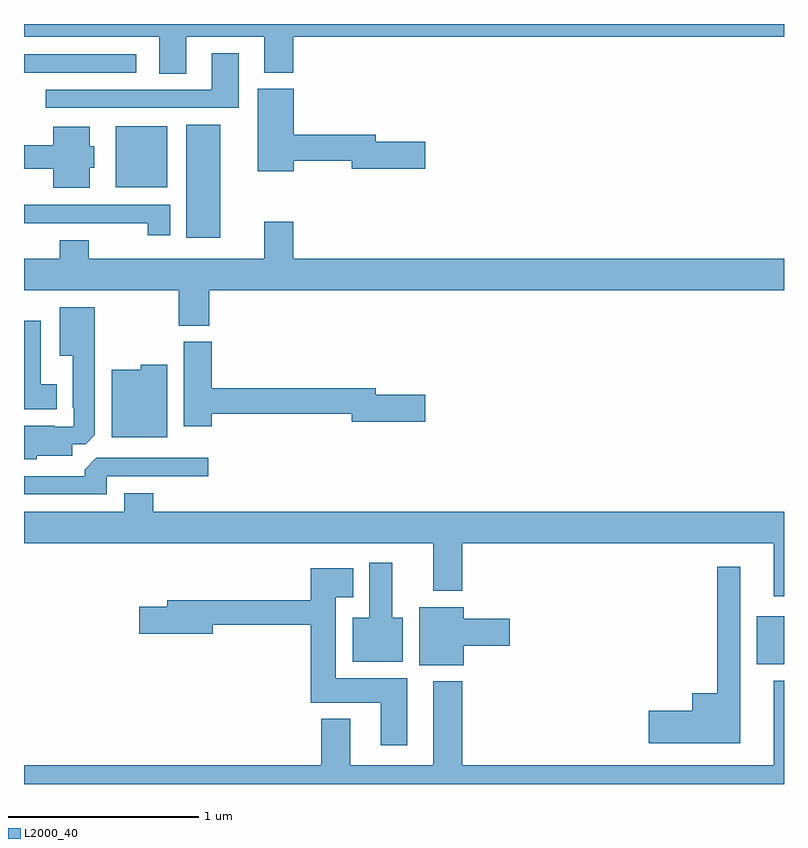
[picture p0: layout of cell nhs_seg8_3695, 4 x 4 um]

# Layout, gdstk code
import gdstk
lib = gdstk.Library(unit=1e-6, precision=1e-09)
def R(c, l, rs):  # rectangles x0, y0, x1, y1
    for r in rs: c.add(gdstk.rectangle(r[:2], r[2:], *l))
def P(c, l, *ps):  # polygons
    for p in ps: c.add(gdstk.Polygon(p, *l))
L2000_40 = (2000, 40)

nhs_seg8_3695 = lib.new_cell('nhs_seg8_3695')
R(nhs_seg8_3695, L2000_40, [(342.857,1114.529,343,1114.783), (339.854,1116.776,340.033,1117.369), (339.482,1117.04,339.754,1117.363), (339,1117.644,339.592,1117.74)])
P(nhs_seg8_3695, L2000_40, [(339.853,1117.832),(340.265,1117.832),(340.265,1117.643),(340.418,1117.643),(340.418,1117.832),(343,1117.832),(343,1117.9),(339,1117.9),(339,1117.832),(339.713,1117.832),(339.713,1117.639),(339.853,1117.639)],
  [(340.129,1117.747),(339.989,1117.747),(339.989,1117.554),(339.114,1117.554),(339.114,1117.458),(340.129,1117.458)],
  [(340.42,1117.18),(340.724,1117.18),(340.724,1117.138),(341.113,1117.138),(341.113,1117.28),(340.852,1117.28),(340.852,1117.316),(340.42,1117.316),(340.42,1117.558),(340.229,1117.558),(340.229,1117.124),(340.42,1117.124)],
  [(339.346,1117.143),(339.37,1117.143),(339.37,1117.257),(339.346,1117.257),(339.346,1117.36),(339.155,1117.36),(339.155,1117.261),(339,1117.261),(339,1117.139),(339.155,1117.139),(339.155,1117.037),(339.346,1117.037)],
  [(339.769,1116.948),(339,1116.948),(339,1116.852),(339.424,1116.852),(339.424,1116.851),(339.652,1116.851),(339.652,1116.789),(339.769,1116.789)],
  [(339.974,1116.5),(343,1116.5),(343,1116.664),(340.418,1116.664),(340.418,1116.859),(340.265,1116.859),(340.265,1116.664),(339.341,1116.664),(339.341,1116.763),(339.188,1116.763),(339.188,1116.664),(339,1116.664),(339,1116.5),(339.814,1116.5),(339.814,1116.313),(339.974,1116.313)],
  [(339.066,1115.627),(339.253,1115.627),(339.253,1115.688),(339.324,1115.688),(339.373,1115.737),(339.373,1116.409),(339.188,1116.409),(339.188,1116.155),(339.257,1116.155),(339.257,1115.881),(339.261,1115.881),(339.261,1115.781),(339.161,1115.781),(339.161,1115.785),(339,1115.785),(339,1115.609),(339.066,1115.609)],
  [(339.172,1116.004),(339.088,1116.004),(339.088,1116.337),(339,1116.337),(339,1115.873),(339.172,1115.873)],
  [(339.989,1115.848),(340.724,1115.848),(340.724,1115.806),(341.113,1115.806),(341.113,1115.948),(340.852,1115.948),(340.852,1115.984),(339.989,1115.984),(339.989,1116.228),(339.842,1116.228),(339.842,1115.784),(339.989,1115.784)],
  [(339.754,1116.106),(339.615,1116.106),(339.615,1116.079),(339.461,1116.079),(339.461,1115.726),(339.754,1115.726)],
  [(339.435,1115.52),(339.97,1115.52),(339.97,1115.616),(339.381,1115.616),(339.32,1115.554),(339.32,1115.52),(339,1115.52),(339,1115.424),(339.435,1115.424)],
  [(343,1115.332),(339.68,1115.332),(339.68,1115.431),(339.527,1115.431),(339.527,1115.332),(339,1115.332),(339,1115.168),(341.153,1115.168),(341.153,1114.916),(341.306,1114.916),(341.306,1115.168),(342.947,1115.168),(342.947,1114.887),(343,1114.887)],
  [(340.993,1114.774),(340.939,1114.774),(340.939,1115.065),(340.817,1115.065),(340.817,1114.774),(340.73,1114.774),(340.73,1114.544),(340.993,1114.544)],
  [(342.769,1115.044),(342.648,1115.044),(342.648,1114.378),(342.518,1114.378),(342.518,1114.286),(342.288,1114.286),(342.288,1114.115),(342.769,1114.115)],
  [(341.017,1114.456),(340.642,1114.456),(340.642,1114.883),(340.732,1114.883),(340.732,1115.035),(340.508,1115.035),(340.508,1114.867),(339.755,1114.867),(339.755,1114.833),(339.606,1114.833),(339.606,1114.691),(339.994,1114.691),(339.994,1114.738),(340.508,1114.738),(340.508,1114.328),(340.877,1114.328),(340.877,1114.104),(341.017,1114.104)],
  [(341.314,1114.628),(341.557,1114.628),(341.557,1114.77),(341.314,1114.77),(341.314,1114.831),(341.081,1114.831),(341.081,1114.526),(341.314,1114.526)],
  [(343,1114.444),(342.947,1114.444),(342.947,1114),(341.306,1114),(341.306,1114.441),(341.153,1114.441),(341.153,1114),(340.717,1114),(340.717,1114.243),(340.565,1114.243),(340.565,1114),(339,1114),(339,1113.9),(343,1113.9)])

lib.write_gds('nhs_seg8_3695.gds')
